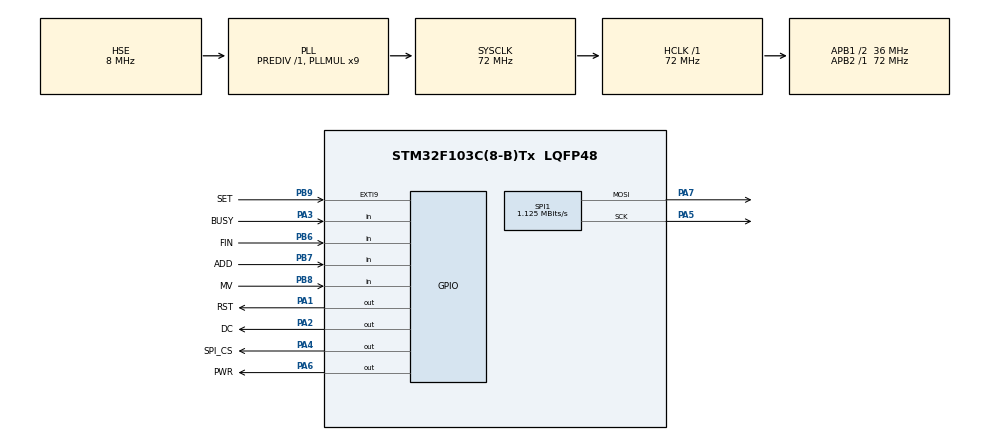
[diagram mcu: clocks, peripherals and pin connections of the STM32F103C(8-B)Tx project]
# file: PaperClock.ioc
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Mcu.Family=STM32F1
Mcu.Name=STM32F103C(8-B)Tx
Mcu.Package=LQFP48
NVIC.EXTI9_5_IRQn=true\:0\:0\:false\:false\:true\:true\:true\:true
NVIC.PriorityGroup=NVIC_PRIORITYGROUP_4
NVIC.TIM2_IRQn=true\:0\:0\:false\:false\:true\:true\:true\:true
PA1.GPIO_Label=RST
PA1.GPIO_Speed=GPIO_SPEED_FREQ_HIGH
PA1.PinState=GPIO_PIN_RESET
PA1.Signal=GPIO_Output
PA13.Mode=Serial_Wire
PA13.Signal=SYS_JTMS-SWDIO
PA14.Mode=Serial_Wire
PA14.Signal=SYS_JTCK-SWCLK
PA2.GPIO_Label=DC
PA2.GPIO_Speed=GPIO_SPEED_FREQ_HIGH
PA2.PinState=GPIO_PIN_RESET
PA2.Signal=GPIO_Output
PA3.GPIO_Label=BUSY
PA3.Signal=GPIO_Input
PA4.GPIO_Label=SPI_CS
PA4.GPIO_Speed=GPIO_SPEED_FREQ_HIGH
PA4.PinState=GPIO_PIN_RESET
PA4.Signal=GPIO_Output
PA5.Mode=TX_Only_Simplex_Unidirect_Master
PA5.Signal=SPI1_SCK
PA6.GPIO_Label=PWR
PA6.GPIO_Speed=GPIO_SPEED_FREQ_HIGH
PA6.Signal=GPIO_Output
PA7.Mode=TX_Only_Simplex_Unidirect_Master
PA7.Signal=SPI1_MOSI
PB6.GPIO_Label=FIN
PB6.GPIO_PuPd=GPIO_PULLUP
PB6.Signal=GPIO_Input
PB7.GPIO_Label=ADD
PB7.GPIO_PuPd=GPIO_PULLUP
PB7.Signal=GPIO_Input
PB8.GPIO_Label=MV
PB8.GPIO_PuPd=GPIO_PULLUP
PB8.Signal=GPIO_Input
PB9.GPIO_Label=SET
PB9.GPIO_ModeDefaultEXTI=GPIO_MODE_IT_FALLING
PB9.GPIO_PuPd=GPIO_PULLUP
PB9.Signal=GPXTI9
PD0-OSC_IN.Mode=HSE-External-Oscillator
PD0-OSC_IN.Signal=RCC_OSC_IN
PD1-OSC_OUT.Mode=HSE-External-Oscillator
PD1-OSC_OUT.Signal=RCC_OSC_OUT
ProjectManager.HeapSize=0x2000
ProjectManager.StackSize=0x2000
ProjectManager.TargetToolchain=Makefile
RCC.AHBFreq_Value=72000000
RCC.APB1CLKDivider=RCC_HCLK_DIV2
RCC.APB1Freq_Value=36000000
RCC.APB1TimFreq_Value=72000000
RCC.APB2Freq_Value=72000000
RCC.APB2TimFreq_Value=72000000
RCC.HCLKFreq_Value=72000000
RCC.PLLMUL=RCC_PLL_MUL9
RCC.PLLSourceVirtual=RCC_PLLSOURCE_HSE
RCC.SYSCLKFreq_VALUE=72000000
RCC.SYSCLKSource=RCC_SYSCLKSOURCE_PLLCLK
RCC.USBFreq_Value=72000000
SPI1.BaudRatePrescaler=SPI_BAUDRATEPRESCALER_64
SPI1.CalculateBaudRate=1.125 MBits/s
SPI1.Direction=SPI_DIRECTION_2LINES
SPI1.Mode=SPI_MODE_MASTER
SPI1.VirtualType=VM_MASTER
TIM2.Period=10000 - 1
TIM2.Prescaler=7200 - 1
VP_TIM2_VS_ClockSourceINT.Mode=Internal
board=custom

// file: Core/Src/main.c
/* USER CODE BEGIN Header */
/**
  ******************************************************************************
  * @file           : main.c
  * @brief          : Main program body
  ******************************************************************************
  * @attention
  *
  * Copyright (c) 2025 STMicroelectronics.
  * All rights reserved.
  *
  * This software is licensed under terms that can be found in the LICENSE file
  * in the root directory of this software component.
  * If no LICENSE file comes with this software, it is provided AS-IS.
  *
  ******************************************************************************
  */
/* USER CODE END Header */
#include "main.h"

/* USER CODE BEGIN Includes */
#include "config.h"
#include "paint.h"
#include "clock.h"
#include "panel.h"
#include "epd_2in9_v2.h"
#include "pic.h"
/* USER CODE END Includes */

SPI_HandleTypeDef hspi1;

TIM_HandleTypeDef htim2;

/* USER CODE BEGIN PV */
Clock_CTX ctx;
Panel_CTX p_ctx;
long long int global_tick;
extern volatile uint32_t uwTick;
/* USER CODE END PV */

void SystemClock_Config(void);
static void MX_GPIO_Init(void);
static void MX_SPI1_Init(void);
static void MX_TIM2_Init(void);

/* USER CODE BEGIN 0 */
void HAL_TIM_PeriodElapsedCallback(TIM_HandleTypeDef *htim)
{
  if (htim == &htim2)
  {
    __disable_irq();
    global_tick ++;
    Clock_Tick(&ctx);
    __enable_irq();
  }
}

void HAL_GPIO_EXTI_Callback(uint16_t GPIO_Pin) {
  if(GPIO_Pin == GPIO_PIN_9) {
    Panel_StartSetting(&p_ctx);
    uwTick += 60 * 1000;
  }
}

/* USER CODE END 0 */

int main(void)
{

  /* MCU Configuration--------------------------------------------------------*/

  /* Reset of all peripherals, Initializes the Flash interface and the Systick. */
  HAL_Init();

  /* USER CODE BEGIN Init */
  Clock_Init(&ctx);
  Panel_Init(&p_ctx, &ctx);
  /* USER CODE END Init */

  /* Configure the system clock */
  SystemClock_Config();

  /* Initialize all configured peripherals */
  MX_GPIO_Init();
  MX_SPI1_Init();
  MX_TIM2_Init();
  /* USER CODE BEGIN 2 */
  printf("EPD_2IN9_V2_test Demo\r\n");
  if(DEV_Module_Init()!=0){
      return -1;
  }

  printf("e-Paper Init and Clear...\r\n");
	EPD_2IN9_V2_Init();
  EPD_2IN9_V2_Clear();
  DEV_Delay_ms(1000);

  //Create a new image cache
  UBYTE *BlackImage;
  UWORD Imagesize = ((EPD_2IN9_V2_WIDTH % 8 == 0)? (EPD_2IN9_V2_WIDTH / 8 ): (EPD_2IN9_V2_WIDTH / 8 + 1)) * EPD_2IN9_V2_HEIGHT;
  if((BlackImage = (UBYTE *)malloc(Imagesize)) == NULL) {
    printf("Failed to apply for black memory...\r\n");
    return -1;
  }
  printf("Paint_NewImage\r\n");
  Paint_NewImage(BlackImage, EPD_2IN9_V2_WIDTH, EPD_2IN9_V2_HEIGHT, 90, WHITE);
	Paint_Clear(WHITE);
  HAL_TIM_Base_Start_IT(&htim2);
  /* USER CODE END 2 */

  /* Infinite loop */
  /* USER CODE BEGIN WHILE */
  Paint_NewImage(BlackImage, EPD_2IN9_V2_WIDTH, EPD_2IN9_V2_HEIGHT, 90, WHITE);
  Paint_SelectImage(BlackImage);
  Paint_DrawBitMap(bitmap_bytes); // 128 * 16
  int count = 0;
  while (1)
  {
    /* USER CODE END WHILE */

    /* USER CODE BEGIN 3 */
    if (ctx.mode == 0) {
      Paint_ClearWindows(Font24.Width, Font24.Height, Font24.Width * 11, Font24.Height * 3, WHITE);
      Paint_DrawDate(Font24.Width, Font24.Height, &ctx.pt, &Font24, WHITE, BLACK);
      Paint_DrawTime(Font24.Width, Font24.Height * 2, &ctx.pt, &Font24, WHITE, BLACK);
      EPD_2IN9_V2_Display_Partial(BlackImage);
      if (count % 5 == 0) {
        EPD_2IN9_V2_Display(BlackImage);
      }
      count ++;
      HAL_Delay(60 * 1000);
    } else {
      Paint_ClearWindows(Font24.Width, Font24.Height, Font24.Width * 11, Font24.Height * 3, WHITE);
      Paint_DrawSettingDate(Font24.Width, Font24.Height, p_ctx.year_digits, p_ctx.month_digits, p_ctx.day_digits, p_ctx.target);
      Paint_DrawSettingTime(Font24.Width, Font24.Height * 2, p_ctx.hour_digits, p_ctx.minute_digits, p_ctx.target);
      EPD_2IN9_V2_Display_Partial(BlackImage);
      while (1)
      {
        if (HAL_GPIO_ReadPin(MV_GPIO_Port, MV_Pin) == GPIO_PIN_RESET) {
          HAL_Delay(500);
          Panel_MoveCursor(&p_ctx);
          break;
        }
        if (HAL_GPIO_ReadPin(ADD_GPIO_Port, ADD_Pin) == GPIO_PIN_RESET) {
          HAL_Delay(500);
          Panel_SetNumber(&p_ctx);
          break;
        }
        if (HAL_GPIO_ReadPin(FIN_GPIO_Port, FIN_Pin) == GPIO_PIN_RESET) {
          HAL_Delay(500);
          Panel_ToggleSetting(&p_ctx);
          break;
        }
      }
    }

  }
  /* USER CODE END 3 */
}

void SystemClock_Config(void)
{
  RCC_OscInitTypeDef RCC_OscInitStruct = {0};
  RCC_ClkInitTypeDef RCC_ClkInitStruct = {0};

  /** Initializes the RCC Oscillators according to the specified parameters
  * in the RCC_OscInitTypeDef structure.
  */
  RCC_OscInitStruct.OscillatorType = RCC_OSCILLATORTYPE_HSE;
  RCC_OscInitStruct.HSEState = RCC_HSE_ON;
  RCC_OscInitStruct.HSEPredivValue = RCC_HSE_PREDIV_DIV1;
  RCC_OscInitStruct.HSIState = RCC_HSI_ON;
  RCC_OscInitStruct.PLL.PLLState = RCC_PLL_ON;
  RCC_OscInitStruct.PLL.PLLSource = RCC_PLLSOURCE_HSE;
  RCC_OscInitStruct.PLL.PLLMUL = RCC_PLL_MUL9;
  if (HAL_RCC_OscConfig(&RCC_OscInitStruct) != HAL_OK)
  {
    Error_Handler();
  }

  /** Initializes the CPU, AHB and APB buses clocks
  */
  RCC_ClkInitStruct.ClockType = RCC_CLOCKTYPE_HCLK|RCC_CLOCKTYPE_SYSCLK
                              |RCC_CLOCKTYPE_PCLK1|RCC_CLOCKTYPE_PCLK2;
  RCC_ClkInitStruct.SYSCLKSource = RCC_SYSCLKSOURCE_PLLCLK;
  RCC_ClkInitStruct.AHBCLKDivider = RCC_SYSCLK_DIV1;
  RCC_ClkInitStruct.APB1CLKDivider = RCC_HCLK_DIV2;
  RCC_ClkInitStruct.APB2CLKDivider = RCC_HCLK_DIV1;

  if (HAL_RCC_ClockConfig(&RCC_ClkInitStruct, FLASH_LATENCY_2) != HAL_OK)
  {
    Error_Handler();
  }
}

static void MX_SPI1_Init(void)
{

  /* SPI1 parameter configuration*/
  hspi1.Instance = SPI1;
  hspi1.Init.Mode = SPI_MODE_MASTER;
  hspi1.Init.Direction = SPI_DIRECTION_2LINES;
  hspi1.Init.DataSize = SPI_DATASIZE_8BIT;
  hspi1.Init.CLKPolarity = SPI_POLARITY_LOW;
  hspi1.Init.CLKPhase = SPI_PHASE_1EDGE;
  hspi1.Init.NSS = SPI_NSS_SOFT;
  hspi1.Init.BaudRatePrescaler = SPI_BAUDRATEPRESCALER_64;
  hspi1.Init.FirstBit = SPI_FIRSTBIT_MSB;
  hspi1.Init.TIMode = SPI_TIMODE_DISABLE;
  hspi1.Init.CRCCalculation = SPI_CRCCALCULATION_DISABLE;
  hspi1.Init.CRCPolynomial = 10;
  if (HAL_SPI_Init(&hspi1) != HAL_OK)
  {
    Error_Handler();
  }

}

static void MX_TIM2_Init(void)
{

  TIM_ClockConfigTypeDef sClockSourceConfig = {0};
  TIM_MasterConfigTypeDef sMasterConfig = {0};

  htim2.Instance = TIM2;
  htim2.Init.Prescaler = 7200 - 1;
  htim2.Init.CounterMode = TIM_COUNTERMODE_UP;
  htim2.Init.Period = 10000 - 1;
  htim2.Init.ClockDivision = TIM_CLOCKDIVISION_DIV1;
  htim2.Init.AutoReloadPreload = TIM_AUTORELOAD_PRELOAD_DISABLE;
  if (HAL_TIM_Base_Init(&htim2) != HAL_OK)
  {
    Error_Handler();
  }
  sClockSourceConfig.ClockSource = TIM_CLOCKSOURCE_INTERNAL;
  if (HAL_TIM_ConfigClockSource(&htim2, &sClockSourceConfig) != HAL_OK)
  {
    Error_Handler();
  }
  sMasterConfig.MasterOutputTrigger = TIM_TRGO_RESET;
  sMasterConfig.MasterSlaveMode = TIM_MASTERSLAVEMODE_DISABLE;
  if (HAL_TIMEx_MasterConfigSynchronization(&htim2, &sMasterConfig) != HAL_OK)
  {
    Error_Handler();
  }

}

static void MX_GPIO_Init(void)
{
  GPIO_InitTypeDef GPIO_InitStruct = {0};

  /* GPIO Ports Clock Enable */
  __HAL_RCC_GPIOD_CLK_ENABLE();
  __HAL_RCC_GPIOA_CLK_ENABLE();
  __HAL_RCC_GPIOB_CLK_ENABLE();

  /*Configure GPIO pin Output Level */
  HAL_GPIO_WritePin(GPIOA, RST_Pin|DC_Pin|SPI_CS_Pin|PWR_Pin, GPIO_PIN_RESET);

  /*Configure GPIO pins : RST_Pin DC_Pin SPI_CS_Pin PWR_Pin */
  GPIO_InitStruct.Pin = RST_Pin|DC_Pin|SPI_CS_Pin|PWR_Pin;
  GPIO_InitStruct.Mode = GPIO_MODE_OUTPUT_PP;
  GPIO_InitStruct.Pull = GPIO_NOPULL;
  GPIO_InitStruct.Speed = GPIO_SPEED_FREQ_HIGH;
  HAL_GPIO_Init(GPIOA, &GPIO_InitStruct);

  /*Configure GPIO pin : BUSY_Pin */
  GPIO_InitStruct.Pin = BUSY_Pin;
  GPIO_InitStruct.Mode = GPIO_MODE_INPUT;
  GPIO_InitStruct.Pull = GPIO_NOPULL;
  HAL_GPIO_Init(BUSY_GPIO_Port, &GPIO_InitStruct);

  /*Configure GPIO pins : FIN_Pin ADD_Pin MV_Pin */
  GPIO_InitStruct.Pin = FIN_Pin|ADD_Pin|MV_Pin;
  GPIO_InitStruct.Mode = GPIO_MODE_INPUT;
  GPIO_InitStruct.Pull = GPIO_PULLUP;
  HAL_GPIO_Init(GPIOB, &GPIO_InitStruct);

  /*Configure GPIO pin : SET_Pin */
  GPIO_InitStruct.Pin = SET_Pin;
  GPIO_InitStruct.Mode = GPIO_MODE_IT_FALLING;
  GPIO_InitStruct.Pull = GPIO_PULLUP;
  HAL_GPIO_Init(SET_GPIO_Port, &GPIO_InitStruct);

  /* EXTI interrupt init*/
  HAL_NVIC_SetPriority(EXTI9_5_IRQn, 0, 0);
  HAL_NVIC_EnableIRQ(EXTI9_5_IRQn);

}

void Error_Handler(void)
{
  __disable_irq();
  while (1)
  {
  }
}
